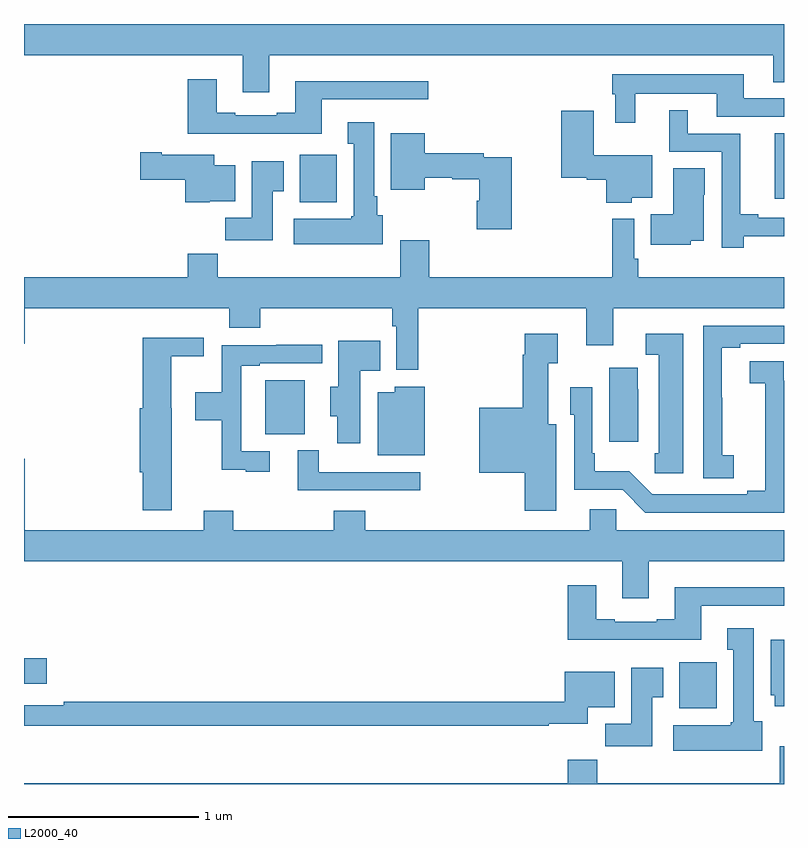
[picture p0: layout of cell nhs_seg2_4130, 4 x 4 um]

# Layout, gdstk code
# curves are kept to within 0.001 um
import gdstk
lib = gdstk.Library(unit=1e-6, precision=1e-09)
def R(c, l, rs):  # rectangles x0, y0, x1, y1
    for r in rs: c.add(gdstk.rectangle(r[:2], r[2:], *l))
def P(c, l, *ps):  # polygons
    for p in ps: c.add(gdstk.Polygon(p, *l))
L2000_40 = (2000, 40)

nhs_seg2_4130 = lib.new_cell('nhs_seg2_4130')
R(nhs_seg2_4130, L2000_40, [(336.449,644.198,336.646,644.44), (333,644.327,333.121,644.462), (334.271,645.641,334.477,645.925), (334.451,646.862,334.647,647.113), (336.95,646.88,337,647.224)])
P(nhs_seg2_4130, L2000_40, [(334.291,647.636),(336.944,647.636),(336.944,647.494),(337,647.494),(337,647.8),(333,647.8),(333,647.636),(334.151,647.636),(334.151,647.442),(334.291,647.442)],
  [(336.217,647.432),(336.647,647.432),(336.647,647.313),(337,647.313),(337,647.409),(336.787,647.409),(336.787,647.536),(336.096,647.536),(336.096,647.431),(336.113,647.431),(336.113,647.28),(336.217,647.28)],
  [(334.567,647.403),(335.128,647.403),(335.128,647.5),(334.427,647.5),(334.427,647.332),(334.331,647.332),(334.331,647.319),(334.111,647.319),(334.111,647.332),(334.015,647.332),(334.015,647.509),(333.863,647.509),(333.863,647.222),(334.567,647.222)],
  [(336.788,646.682),(337,646.682),(337,646.779),(336.865,646.779),(336.865,646.799),(336.77,646.799),(336.77,647.223),(336.493,647.223),(336.493,647.347),(336.395,647.347),(336.395,647.127),(336.672,647.127),(336.672,646.623),(336.788,646.623)],
  [(336.198,646.886),(336.307,646.886),(336.307,647.11),(335.998,647.11),(335.998,647.344),(335.828,647.344),(335.828,646.991),(335.963,646.991),(335.963,646.979),(336.065,646.979),(336.065,646.859),(336.198,646.859)],
  [(334.888,646.794),(334.858,646.794),(334.858,646.894),(334.843,646.894),(334.843,647.284),(334.703,647.284),(334.703,647.171),(334.736,647.171),(334.736,646.788),(334.723,646.788),(334.723,646.774),(334.419,646.774),(334.419,646.64),(334.888,646.64)],
  [(335.567,647.1),(335.42,647.1),(335.42,647.12),(335.11,647.12),(335.11,647.224),(334.931,647.224),(334.931,646.928),(335.11,646.928),(335.11,646.992),(335.253,646.992),(335.253,646.984),(335.396,646.984),(335.396,646.869),(335.384,646.869),(335.384,646.719),(335.567,646.719)],
  [(333.978,646.868),(334.111,646.868),(334.111,647.056),(334,647.056),(334,647.113),(333.724,647.113),(333.724,647.126),(333.612,647.126),(333.612,646.979),(333.848,646.979),(333.848,646.862),(333.978,646.862)],
  [(334.309,646.921),(334.366,646.921),(334.366,647.077),(334.199,647.077),(334.199,646.78),(334.06,646.78),(334.06,646.662),(334.309,646.662)],
  [(336.51,646.658),(336.577,646.658),(336.577,646.902),(336.583,646.902),(336.583,647.042),(336.416,647.042),(336.416,646.798),(336.298,646.798),(336.298,646.637),(336.51,646.637)],
  [(335.075,646.304),(335.96,646.304),(335.96,646.11),(336.1,646.11),(336.1,646.304),(337,646.304),(337,646.468),(336.233,646.468),(336.233,646.564),(336.213,646.564),(336.213,646.774),(336.097,646.774),(336.097,646.468),(335.132,646.468),(335.132,646.663),(334.979,646.663),(334.979,646.468),(334.019,646.468),(334.019,646.592),(333.863,646.592),(333.863,646.468),(333,646.468),(333,646.116),(333.004,646.116),(333.004,646.304),(334.079,646.304),(334.079,646.202),(334.244,646.202),(334.244,646.304),(334.939,646.304),(334.939,646.208),(334.959,646.208),(334.959,645.981),(335.075,645.981)],
  [(336.736,645.529),(336.675,645.529),(336.675,645.833),(336.673,645.833),(336.673,646.096),(336.769,646.096),(336.769,646.116),(337,646.116),(337,646.212),(336.576,646.212),(336.576,645.409),(336.736,645.409)],
  [(336.469,646.171),(336.273,646.171),(336.273,646.059),(336.341,646.059),(336.341,645.54),(336.319,645.54),(336.319,645.435),(336.469,645.435)],
  [(335.8,645.694),(335.758,645.694),(335.758,646.015),(335.809,646.015),(335.809,646.171),(335.636,646.171),(335.636,646.058),(335.624,646.058),(335.624,645.781),(335.396,645.781),(335.396,645.437),(335.636,645.437),(335.636,645.237),(335.8,645.237)],
  [(333.778,645.777),(333.775,645.777),(333.775,646.052),(333.946,646.052),(333.946,646.15),(333.626,646.15),(333.626,645.777),(333.608,645.777),(333.608,645.441),(333.626,645.441),(333.626,645.24),(333.778,645.24)],
  [(334.771,645.974),(334.874,645.974),(334.874,646.132),(334.655,646.132),(334.655,645.891),(334.613,645.891),(334.613,645.736),(334.649,645.736),(334.649,645.594),(334.771,645.594)],
  [(334.294,645.552),(334.143,645.552),(334.143,646.002),(334.24,646.002),(334.24,646.014),(334.57,646.014),(334.57,646.112),(334.327,646.112),(334.327,646.11),(334.042,646.11),(334.042,645.862),(333.9,645.862),(333.9,645.715),(334.042,645.715),(334.042,645.455),(334.166,645.455),(334.166,645.444),(334.294,645.444)],
  [(337,645.923),(336.998,645.923),(336.998,646.025),(336.819,646.025),(336.819,645.91),(336.901,645.91),(336.902,645.344),(336.806,645.344),(336.806,645.324),(336.306,645.324),(336.185,645.445),(336.004,645.445),(336.004,645.541),(335.991,645.541),(335.991,645.889),(335.874,645.889),(335.874,645.744),(335.895,645.744),(335.895,645.348),(336.15,645.348),(336.27,645.228),(337,645.228)],
  [(336.232,645.878),(336.229,645.878),(336.229,645.991),(336.08,645.991),(336.08,645.602),(336.232,645.602)],
  [(335.11,645.892),(334.952,645.892),(334.952,645.862),(334.862,645.862),(334.862,645.53),(335.11,645.53)],
  [(335.086,645.441),(334.766,645.441),(334.766,645.442),(334.552,645.442),(334.552,645.556),(334.442,645.556),(334.442,645.345),(335.086,645.345)],
  [(336.289,644.972),(337,644.972),(337,645.136),(336.117,645.136),(336.117,645.246),(335.978,645.246),(335.978,645.136),(334.796,645.136),(334.796,645.238),(334.631,645.238),(334.631,645.136),(334.1,645.136),(334.1,645.238),(333.947,645.238),(333.947,645.136),(333.004,645.136),(333.004,645.511),(333,645.511),(333,644.972),(336.149,644.972),(336.149,644.778),(336.289,644.778)],
  [(336.565,644.739),(337,644.739),(337,644.836),(336.425,644.836),(336.425,644.668),(336.329,644.668),(336.329,644.655),(336.109,644.655),(336.109,644.668),(336.013,644.668),(336.013,644.845),(335.861,644.845),(335.861,644.558),(336.565,644.558)],
  [(336.886,644.13),(336.841,644.13),(336.841,644.62),(336.701,644.62),(336.701,644.507),(336.734,644.507),(336.734,644.124),(336.721,644.124),(336.721,644.11),(336.417,644.11),(336.417,643.976),(336.886,643.976)],
  [(337,644.56),(336.929,644.56),(336.929,644.268),(336.95,644.268),(336.95,644.208),(337,644.208)],
  [(336.307,644.257),(336.364,644.257),(336.364,644.413),(336.197,644.413),(336.197,644.116),(336.058,644.116),(336.058,643.998),(336.307,643.998)],
  [(335.762,644.117),(335.968,644.117),(335.968,644.204),(336.109,644.204),(336.109,644.392),(335.846,644.392),(335.846,644.234),(333.208,644.234),(333.208,644.214),(333,644.214),(333,644.106),(335.762,644.106)],
  [(337,643.999),(336.977,643.999),(336.977,643.804),(336.017,643.804),(336.017,643.928),(335.861,643.928),(335.861,643.804),(333,643.804),(333,643.8),(337,643.8)])

lib.write_gds('nhs_seg2_4130.gds')
